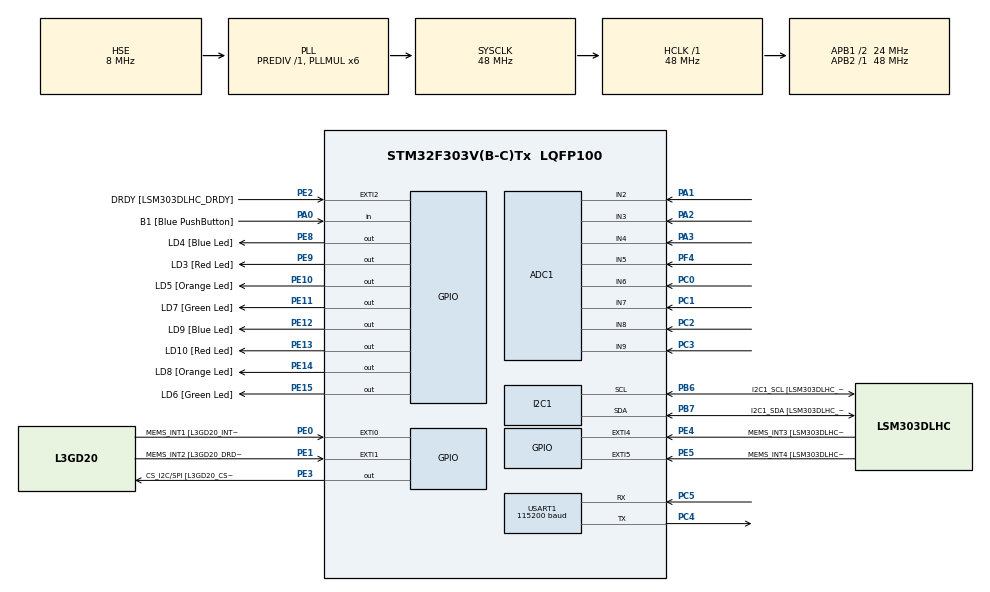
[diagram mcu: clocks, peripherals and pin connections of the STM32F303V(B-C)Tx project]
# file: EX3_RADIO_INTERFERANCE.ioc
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ADC1.Channel-1\#ChannelRegularConversion=ADC_CHANNEL_2
ADC1.NbrOfConversionFlag=1
ADC1.Offset-1\#ChannelRegularConversion=0
ADC1.OffsetNumber-1\#ChannelRegularConversion=ADC_OFFSET_NONE
ADC1.Rank-1\#ChannelRegularConversion=1
ADC1.SamplingTime-1\#ChannelRegularConversion=ADC_SAMPLETIME_1CYCLE_5
ADC1.master=1
I2C1.Timing-I2C=0x2000090E
Mcu.Family=STM32F3
Mcu.Name=STM32F303V(B-C)Tx
Mcu.Package=LQFP100
NVIC.PriorityGroup=NVIC_PRIORITYGROUP_0
PA0.GPIO_Label=B1 [Blue PushButton]
PA0.Signal=GPIO_Input
PA1.Mode=IN2-Single-Ended
PA1.Signal=ADC1_IN2
PA13.GPIO_Label=SWDIO
PA13.Mode=Serial_Wire
PA13.Signal=SYS_JTMS-SWDIO
PA14.GPIO_Label=SWCLK
PA14.Mode=Serial_Wire
PA14.Signal=SYS_JTCK-SWCLK
PA2.Mode=IN3-Single-Ended
PA2.Signal=ADC1_IN3
PA3.Mode=IN4-Single-Ended
PA3.Signal=ADC1_IN4
PB3.GPIO_Label=SWO
PB3.Signal=SYS_JTDO-TRACESWO
PB6.GPIO_Label=I2C1_SCL [LSM303DLHC_SCL]
PB6.GPIO_Pu=GPIO_PULLUP
PB6.Mode=I2C
PB6.Signal=I2C1_SCL
PB7.GPIO_Label=I2C1_SDA [LSM303DLHC_SDA]
PB7.GPIO_Pu=GPIO_PULLUP
PB7.Mode=I2C
PB7.Signal=I2C1_SDA
PC0.Signal=ADCx_IN6
PC1.Signal=ADCx_IN7
PC14-OSC32_IN.GPIO_Label=OSC32_IN
PC14-OSC32_IN.Signal=RCC_OSC32_IN
PC15-OSC32_OUT.GPIO_Label=OSC32_OUT
PC15-OSC32_OUT.Signal=RCC_OSC32_OUT
PC2.Signal=ADCx_IN8
PC3.Signal=ADCx_IN9
PC4.Mode=Asynchronous
PC4.Signal=USART1_TX
PC5.Mode=Asynchronous
PC5.Signal=USART1_RX
PE0.GPIO_Label=MEMS_INT1 [L3GD20_INT1]
PE0.GPIO_ModeDefaultEXTI=GPIO_MODE_EVT_RISING
PE0.Signal=GPXTI0
PE1.GPIO_Label=MEMS_INT2 [L3GD20_DRDY/INT2]
PE1.GPIO_ModeDefaultEXTI=GPIO_MODE_EVT_RISING
PE1.Signal=GPXTI1
PE10.GPIO_Label=LD5 [Orange Led]
PE10.Signal=GPIO_Output
PE11.GPIO_Label=LD7 [Green Led]
PE11.Signal=GPIO_Output
PE12.GPIO_Label=LD9 [Blue Led]
PE12.Signal=GPIO_Output
PE13.GPIO_Label=LD10 [Red Led]
PE13.Signal=GPIO_Output
PE14.GPIO_Label=LD8 [Orange Led]
PE14.Signal=GPIO_Output
PE15.GPIO_Label=LD6 [Green Led]
PE15.Signal=GPIO_Output
PE2.GPIO_Label=DRDY [LSM303DLHC_DRDY]
PE2.GPIO_ModeDefaultEXTI=GPIO_MODE_EVT_RISING
PE2.Signal=GPXTI2
PE3.GPIO_Label=CS_I2C/SPI [L3GD20_CS_I2C/SPI]
PE3.Signal=GPIO_Output
PE4.GPIO_Label=MEMS_INT3 [LSM303DLHC_INT1]
PE4.GPIO_ModeDefaultEXTI=GPIO_MODE_EVT_RISING
PE4.Signal=GPXTI4
PE5.GPIO_Label=MEMS_INT4 [LSM303DLHC_INT2]
PE5.GPIO_ModeDefaultEXTI=GPIO_MODE_EVT_RISING
PE5.Signal=GPXTI5
PE8.GPIO_Label=LD4 [Blue Led]
PE8.Signal=GPIO_Output
PE9.GPIO_Label=LD3 [Red Led]
PE9.Signal=GPIO_Output
PF0-OSC_IN.GPIO_Label=OSC_IN
PF0-OSC_IN.Mode=HSE-External-Clock-Source
PF0-OSC_IN.Signal=RCC_OSC_IN
PF1-OSC_OUT.GPIO_Label=OSC_OUT
PF1-OSC_OUT.Signal=RCC_OSC_OUT
PF4.Mode=IN5-Single-Ended
PF4.Signal=ADC1_IN5
ProjectManager.HeapSize=0x200
ProjectManager.StackSize=0x400
ProjectManager.TargetToolchain=STM32CubeIDE
RCC.AHBFreq_Value=48000000
RCC.APB1CLKDivider=RCC_HCLK_DIV2
RCC.APB1Freq_Value=24000000
RCC.APB1TimFreq_Value=48000000
RCC.APB2Freq_Value=48000000
RCC.APB2TimFreq_Value=48000000
RCC.CortexFreq_Value=48000000
RCC.HCLKFreq_Value=48000000
RCC.HSE_VALUE=8000000
RCC.HSI_VALUE=8000000
RCC.LSE_VALUE=32768
RCC.PLLMUL=RCC_PLL_MUL6
RCC.PLLSourceVirtual=RCC_PLLSOURCE_HSE
RCC.SYSCLKFreq_VALUE=48000000
RCC.SYSCLKSourceVirtual=RCC_SYSCLKSOURCE_PLLCLK
RCC.USBFreq_Value=48000000
SH.ADCx_IN6.0=ADC1_IN6,IN6-Single-Ended
SH.ADCx_IN7.0=ADC1_IN7,IN7-Single-Ended
SH.ADCx_IN8.0=ADC1_IN8,IN8-Single-Ended
SH.ADCx_IN9.0=ADC1_IN9,IN9-Single-Ended
USART1.BaudRate=115200
USART1.VirtualMode-Asynchronous=VM_ASYNC
board=STM32F3DISCOVERY

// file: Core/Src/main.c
/* USER CODE BEGIN Header */
/**
  ******************************************************************************
  * @file           : main.c
  * @brief          : Main program body
  ******************************************************************************
  * @attention
  *
  * Copyright (c) 2023 STMicroelectronics.
  * All rights reserved.
  *
  * This software is licensed under terms that can be found in the LICENSE file
  * in the root directory of this software component.
  * If no LICENSE file comes with this software, it is provided AS-IS.
  *
  ******************************************************************************
  */
/* USER CODE END Header */
#include "main.h"
#include <stdlib.h>
#include <stdio.h>
#include <stdbool.h>

#include "magnetometer_functions.h"
#include "calculation_functions.h"

/* USER CODE BEGIN Includes */
void SystemClock_Config(void);
static void MX_GPIO_Init(void);
static void MX_USART1_UART_Init(void);
static void MX_I2C1_Init(void);
/* USER CODE END Includes */

/* USER CODE BEGIN PD */
#define MAG_READ 0x3C
#define MAG_WRITE 0x3D

#define LSM303AGR_BlockUpdate_Continuous ((uint8_t)0x00) /*!< Continuous Update */

#define LSM303AGR_CFG_REG_A_M 0x60  /* Configuration register A magnetic field */

#define LSM303AGR_ODR_220_HZ ((uint8_t) 0x1C)  /*!< Output Data Rate = 220 Hz */

#define ARRAY_SIZE 10 //size of array for the data taken to average

#define LED_ALL 0xffff
#define LED_FOUR 0x5555
/* USER CODE END PD */

ADC_HandleTypeDef hadc1;

I2C_HandleTypeDef hi2c1;

UART_HandleTypeDef huart1;

/* USER CODE BEGIN PV */
volatile int LED_POS = 0;
volatile uint8_t* led_output_display = ((uint8_t*)&(GPIOE->ODR)) + 1;
volatile uint32_t systickValue = 0;
/* USER CODE END PV */

void SystemClock_Config(void);
static void MX_GPIO_Init(void);
static void MX_I2C1_Init(void);
static void MX_ADC1_Init(void);
static void MX_USART1_UART_Init(void);

/* USER CODE BEGIN 0 */
ADC_ChannelConfTypeDef sConfig = {0};

void enable_clocks() {

RCC->AHBENR |= RCC_AHBENR_GPIOAEN | RCC_AHBENR_GPIOCEN | RCC_AHBENR_GPIOEEN;
}

void ADC_select_CH2 (void){
sConfig.Channel = ADC_CHANNEL_2;
sConfig.Rank = ADC_REGULAR_RANK_1;
sConfig.SingleDiff = ADC_SINGLE_ENDED;
sConfig.SamplingTime = ADC_SAMPLETIME_1CYCLE_5;
sConfig.OffsetNumber = ADC_OFFSET_NONE;
sConfig.Offset = 0;
if (HAL_ADC_ConfigChannel(&hadc1, &sConfig) != HAL_OK)
{
  Error_Handler();
}
}

void ADC_select_CH3 (void){
sConfig.Channel = ADC_CHANNEL_3;
sConfig.Rank = ADC_REGULAR_RANK_1;
sConfig.SingleDiff = ADC_SINGLE_ENDED;
sConfig.SamplingTime = ADC_SAMPLETIME_1CYCLE_5;
sConfig.OffsetNumber = ADC_OFFSET_NONE;
sConfig.Offset = 0;
if (HAL_ADC_ConfigChannel(&hadc1, &sConfig) != HAL_OK)
{
  Error_Handler();
}
}

void ADC_select_CH4 (void){
sConfig.Channel = ADC_CHANNEL_4;
sConfig.Rank = ADC_REGULAR_RANK_1;
sConfig.SingleDiff = ADC_SINGLE_ENDED;
sConfig.SamplingTime = ADC_SAMPLETIME_1CYCLE_5;
sConfig.OffsetNumber = ADC_OFFSET_NONE;
sConfig.Offset = 0;
if (HAL_ADC_ConfigChannel(&hadc1, &sConfig) != HAL_OK)
{
  Error_Handler();
}
}

void ADC_select_CH5 (void){
sConfig.Channel = ADC_CHANNEL_5;
sConfig.Rank = ADC_REGULAR_RANK_1;
sConfig.SingleDiff = ADC_SINGLE_ENDED;
sConfig.SamplingTime = ADC_SAMPLETIME_1CYCLE_5;
sConfig.OffsetNumber = ADC_OFFSET_NONE;
sConfig.Offset = 0;
if (HAL_ADC_ConfigChannel(&hadc1, &sConfig) != HAL_OK)
{
  Error_Handler();
}
}

void ADC_select_CH6 (void){
sConfig.Channel = ADC_CHANNEL_6;
sConfig.Rank = ADC_REGULAR_RANK_1;
sConfig.SingleDiff = ADC_SINGLE_ENDED;
sConfig.SamplingTime = ADC_SAMPLETIME_1CYCLE_5;
sConfig.OffsetNumber = ADC_OFFSET_NONE;
sConfig.Offset = 0;
if (HAL_ADC_ConfigChannel(&hadc1, &sConfig) != HAL_OK)
{
  Error_Handler();
}
}

void ADC_select_CH7 (void){
sConfig.Channel = ADC_CHANNEL_7;
sConfig.Rank = ADC_REGULAR_RANK_1;
sConfig.SingleDiff = ADC_SINGLE_ENDED;
sConfig.SamplingTime = ADC_SAMPLETIME_1CYCLE_5;
sConfig.OffsetNumber = ADC_OFFSET_NONE;
sConfig.Offset = 0;
if (HAL_ADC_ConfigChannel(&hadc1, &sConfig) != HAL_OK)
{
  Error_Handler();
}
}

void ADC_select_CH8 (void){
sConfig.Channel = ADC_CHANNEL_8;
sConfig.Rank = ADC_REGULAR_RANK_1;
sConfig.SingleDiff = ADC_SINGLE_ENDED;
sConfig.SamplingTime = ADC_SAMPLETIME_1CYCLE_5;
sConfig.OffsetNumber = ADC_OFFSET_NONE;
sConfig.Offset = 0;
if (HAL_ADC_ConfigChannel(&hadc1, &sConfig) != HAL_OK)
{
  Error_Handler();
}
}

void ADC_select_CH9 (void){
sConfig.Channel = ADC_CHANNEL_9;
sConfig.Rank = ADC_REGULAR_RANK_1;
sConfig.SingleDiff = ADC_SINGLE_ENDED;
sConfig.SamplingTime = ADC_SAMPLETIME_1CYCLE_5;
sConfig.OffsetNumber = ADC_OFFSET_NONE;
sConfig.Offset = 0;
if (HAL_ADC_ConfigChannel(&hadc1, &sConfig) != HAL_OK)
{
  Error_Handler();
}
}

void shuffleArray(float array[], float degrees){
	for(int i = 1; i < ARRAY_SIZE; i ++){
		array[i - 1] = array[i];
	}
	array[ARRAY_SIZE - 1] = degrees;
}

void enableLED()
{
	//only take important bits (first 16) of LED output register
	uint16_t* portReg = ((uint16_t*)&(GPIOE->MODER))+1;

	//set LED pins to output
	*portReg = LED_FOUR;
}

void turnOnLED(int pos){
	LED_POS = pos;
	*led_output_display = 1UL << LED_POS;

}

void turnOnAll(){
	*led_output_display = LED_ALL;
}

void turnOnFour(){
	*led_output_display = LED_FOUR;
}
/* USER CODE END 0 */

int main(void)
{
  /* USER CODE BEGIN 1 */
	enable_clocks();
  /* USER CODE END 1 */

  /* MCU Configuration--------------------------------------------------------*/

  /* Reset of all peripherals, Initializes the Flash interface and the Systick. */
  HAL_Init();

  /* Configure the system clock */
  SystemClock_Config();

  /* Initialize all configured peripherals */
  MX_GPIO_Init();
  MX_I2C1_Init();
  MX_ADC1_Init();
  MX_USART1_UART_Init();
  /* USER CODE BEGIN 2 */
  void (*LDRChannels[8])() = {
  		  &ADC_select_CH2,
  		  &ADC_select_CH3,
  		  &ADC_select_CH4,
  		  &ADC_select_CH5,
  		  &ADC_select_CH6,
  		  &ADC_select_CH7,
  		  &ADC_select_CH8,
  		  &ADC_select_CH9
    };

    int LDRs[] = {0, 0, 0, 0, 0, 0, 0, 0};
    int solution;

    uint8_t test[64];
	HAL_StatusTypeDef returnValue, stat, check, odr;
	float array[ARRAY_SIZE] = {0};
//	float average = 0;
	int count = 0;
	float sum = 0;
	bool completed = false;

	float degrees, average;

	float x_data, y_data, z_data;

	for(int cycle = 0; cycle < 2; cycle++){
		solution = (SysTick->VAL % 8);
		mag_config();
	  						 // MAGNETOMETER LOOP START
	   while (1){

		   sprintf(test, "SOLUTION: %d\r\n", solution);
		   HAL_UART_Transmit(&huart1, test, strlen(test), HAL_MAX_DELAY);

		   x_data = read_x_data();
		   sprintf(test, "AFTER X %.2f 00\r\n", x_data);
		   HAL_UART_Transmit(&huart1, test, strlen(test), HAL_MAX_DELAY);

		   y_data = read_y_data();
		   z_data = read_z_data();

		   sprintf(test, "x: %.2f y: %.2f z: %.2f\r\n", x_data, y_data, z_data);
		   HAL_UART_Transmit(&huart1, test, strlen(test), HAL_MAX_DELAY);

		   degrees = calculate_degrees(x_data, y_data);

		   average = calculate_average(array, degrees, count);

		   sprintf(test, "average: %.2f\r\n", average);
		   HAL_UART_Transmit(&huart1, test, strlen(test), HAL_MAX_DELAY);

		   completed = check_solution(average, solution, degrees);

			HAL_Delay(100);
		}
		   // END MAGNETOMETER LOOP

		   // START ADC LOOP
		   // calibrate ADC1
		   HAL_ADCEx_Calibration_Start(&hadc1, ADC_SINGLE_ENDED);

		   // while the system is still searching for solutions
		   int ADC_Solutions[8] = {0,0,0,0,0,0,0,0};
		   ADC_Solutions[solution] = 1;
		   int SolCounter = 0;
		   while (SolCounter < 1){
			// Poll each LED in sequence
			for (int i = 0; i < 8; i++){
				LDRChannels[i]();
				HAL_ADC_Start(&hadc1);
				HAL_ADC_PollForConversion(&hadc1, 1000);
				int ADC_val = HAL_ADC_GetValue(&hadc1);
				HAL_ADC_Stop(&hadc1);

				// read the value from ADC, full range is 12 bits
				uint8_t scale = ADC_val / (0xfff / 8);  // divide the scale into 8 even partitions (for 8 leds)

				// Mark LED to be triggered
				if (scale > 3) {
					LDRs[i] = 1;
				} else {
					LDRs[i] = 0;
				}
			}

			// Check if solution is a match+
			for (int i = 0; i <= 8; i++){
				if (i == 8){
					SolCounter++;
				}
				else if (LDRs[i] == ADC_Solutions[i]){
					continue;
				} else{
					break;
				}
			}
		   }
	  		}

	HAL_UART_Transmit(&huart1, (uint8_t*) "]", strlen("]"), HAL_MAX_DELAY);

	turnOnAll();

  /* USER CODE END 2 */

  /* Infinite loop */
  while (1)
  {

  }
}

void SystemClock_Config(void)
{
  RCC_OscInitTypeDef RCC_OscInitStruct = {0};
  RCC_ClkInitTypeDef RCC_ClkInitStruct = {0};
  RCC_PeriphCLKInitTypeDef PeriphClkInit = {0};

  /** Initializes the RCC Oscillators according to the specified parameters
  * in the RCC_OscInitTypeDef structure.
  */
  RCC_OscInitStruct.OscillatorType = RCC_OSCILLATORTYPE_HSI|RCC_OSCILLATORTYPE_HSE;
  RCC_OscInitStruct.HSEState = RCC_HSE_BYPASS;
  RCC_OscInitStruct.HSEPredivValue = RCC_HSE_PREDIV_DIV1;
  RCC_OscInitStruct.HSIState = RCC_HSI_ON;
  RCC_OscInitStruct.HSICalibrationValue = RCC_HSICALIBRATION_DEFAULT;
  RCC_OscInitStruct.PLL.PLLState = RCC_PLL_ON;
  RCC_OscInitStruct.PLL.PLLSource = RCC_PLLSOURCE_HSE;
  RCC_OscInitStruct.PLL.PLLMUL = RCC_PLL_MUL6;
  if (HAL_RCC_OscConfig(&RCC_OscInitStruct) != HAL_OK)
  {
    Error_Handler();
  }

  /** Initializes the CPU, AHB and APB buses clocks
  */
  RCC_ClkInitStruct.ClockType = RCC_CLOCKTYPE_HCLK|RCC_CLOCKTYPE_SYSCLK
                              |RCC_CLOCKTYPE_PCLK1|RCC_CLOCKTYPE_PCLK2;
  RCC_ClkInitStruct.SYSCLKSource = RCC_SYSCLKSOURCE_PLLCLK;
  RCC_ClkInitStruct.AHBCLKDivider = RCC_SYSCLK_DIV1;
  RCC_ClkInitStruct.APB1CLKDivider = RCC_HCLK_DIV2;
  RCC_ClkInitStruct.APB2CLKDivider = RCC_HCLK_DIV1;

  if (HAL_RCC_ClockConfig(&RCC_ClkInitStruct, FLASH_LATENCY_1) != HAL_OK)
  {
    Error_Handler();
  }
  PeriphClkInit.PeriphClockSelection = RCC_PERIPHCLK_USART1|RCC_PERIPHCLK_I2C1
                              |RCC_PERIPHCLK_ADC12;
  PeriphClkInit.Usart1ClockSelection = RCC_USART1CLKSOURCE_PCLK2;
  PeriphClkInit.Adc12ClockSelection = RCC_ADC12PLLCLK_DIV1;
  PeriphClkInit.I2c1ClockSelection = RCC_I2C1CLKSOURCE_HSI;
  if (HAL_RCCEx_PeriphCLKConfig(&PeriphClkInit) != HAL_OK)
  {
    Error_Handler();
  }
}

static void MX_ADC1_Init(void)
{

  ADC_MultiModeTypeDef multimode = {0};
  ADC_ChannelConfTypeDef sConfig = {0};

  /** Common config
  */
  hadc1.Instance = ADC1;
  hadc1.Init.ClockPrescaler = ADC_CLOCK_ASYNC_DIV1;
  hadc1.Init.Resolution = ADC_RESOLUTION_12B;
  hadc1.Init.ScanConvMode = ADC_SCAN_DISABLE;
  hadc1.Init.ContinuousConvMode = DISABLE;
  hadc1.Init.DiscontinuousConvMode = DISABLE;
  hadc1.Init.ExternalTrigConvEdge = ADC_EXTERNALTRIGCONVEDGE_NONE;
  hadc1.Init.ExternalTrigConv = ADC_SOFTWARE_START;
  hadc1.Init.DataAlign = ADC_DATAALIGN_RIGHT;
  hadc1.Init.NbrOfConversion = 1;
  hadc1.Init.DMAContinuousRequests = DISABLE;
  hadc1.Init.EOCSelection = ADC_EOC_SINGLE_CONV;
  hadc1.Init.LowPowerAutoWait = DISABLE;
  hadc1.Init.Overrun = ADC_OVR_DATA_OVERWRITTEN;
  if (HAL_ADC_Init(&hadc1) != HAL_OK)
  {
    Error_Handler();
  }

  /** Configure the ADC multi-mode
  */
  multimode.Mode = ADC_MODE_INDEPENDENT;
  if (HAL_ADCEx_MultiModeConfigChannel(&hadc1, &multimode) != HAL_OK)
  {
    Error_Handler();
  }

  /** Configure Regular Channel
  */
  sConfig.Channel = ADC_CHANNEL_2;
  sConfig.Rank = ADC_REGULAR_RANK_1;
  sConfig.SingleDiff = ADC_SINGLE_ENDED;
  sConfig.SamplingTime = ADC_SAMPLETIME_1CYCLE_5;
  sConfig.OffsetNumber = ADC_OFFSET_NONE;
  sConfig.Offset = 0;
  if (HAL_ADC_ConfigChannel(&hadc1, &sConfig) != HAL_OK)
  {
    Error_Handler();
  }

}

static void MX_I2C1_Init(void)
{

  hi2c1.Instance = I2C1;
  hi2c1.Init.Timing = 0x2000090E;
  hi2c1.Init.OwnAddress1 = 0;
  hi2c1.Init.AddressingMode = I2C_ADDRESSINGMODE_7BIT;
  hi2c1.Init.DualAddressMode = I2C_DUALADDRESS_DISABLE;
  hi2c1.Init.OwnAddress2 = 0;
  hi2c1.Init.OwnAddress2Masks = I2C_OA2_NOMASK;
  hi2c1.Init.GeneralCallMode = I2C_GENERALCALL_DISABLE;
  hi2c1.Init.NoStretchMode = I2C_NOSTRETCH_DISABLE;
  if (HAL_I2C_Init(&hi2c1) != HAL_OK)
  {
    Error_Handler();
  }

  /** Configure Analogue filter
  */
  if (HAL_I2CEx_ConfigAnalogFilter(&hi2c1, I2C_ANALOGFILTER_ENABLE) != HAL_OK)
  {
    Error_Handler();
  }

  /** Configure Digital filter
  */
  if (HAL_I2CEx_ConfigDigitalFilter(&hi2c1, 0) != HAL_OK)
  {
    Error_Handler();
  }

}

static void MX_USART1_UART_Init(void)
{

  huart1.Instance = USART1;
  huart1.Init.BaudRate = 115200;
  huart1.Init.WordLength = UART_WORDLENGTH_8B;
  huart1.Init.StopBits = UART_STOPBITS_1;
  huart1.Init.Parity = UART_PARITY_NONE;
  huart1.Init.Mode = UART_MODE_TX_RX;
  huart1.Init.HwFlowCtl = UART_HWCONTROL_NONE;
  huart1.Init.OverSampling = UART_OVERSAMPLING_16;
  huart1.Init.OneBitSampling = UART_ONE_BIT_SAMPLE_DISABLE;
  huart1.AdvancedInit.AdvFeatureInit = UART_ADVFEATURE_NO_INIT;
  if (HAL_UART_Init(&huart1) != HAL_OK)
  {
    Error_Handler();
  }

}

static void MX_GPIO_Init(void)
{
  GPIO_InitTypeDef GPIO_InitStruct = {0};

  /* GPIO Ports Clock Enable */
  __HAL_RCC_GPIOE_CLK_ENABLE();
  __HAL_RCC_GPIOC_CLK_ENABLE();
  __HAL_RCC_GPIOF_CLK_ENABLE();
  __HAL_RCC_GPIOA_CLK_ENABLE();
  __HAL_RCC_GPIOB_CLK_ENABLE();

  /*Configure GPIO pin Output Level */
  HAL_GPIO_WritePin(GPIOE, CS_I2C_SPI_Pin|LD4_Pin|LD3_Pin|LD5_Pin
                          |LD7_Pin|LD9_Pin|LD10_Pin|LD8_Pin
                          |LD6_Pin, GPIO_PIN_RESET);

  /*Configure GPIO pins : DRDY_Pin MEMS_INT3_Pin MEMS_INT4_Pin MEMS_INT1_Pin
                           MEMS_INT2_Pin */
  GPIO_InitStruct.Pin = DRDY_Pin|MEMS_INT3_Pin|MEMS_INT4_Pin|MEMS_INT1_Pin
                          |MEMS_INT2_Pin;
  GPIO_InitStruct.Mode = GPIO_MODE_EVT_RISING;
  GPIO_InitStruct.Pull = GPIO_NOPULL;
  HAL_GPIO_Init(GPIOE, &GPIO_InitStruct);

  /*Configure GPIO pins : CS_I2C_SPI_Pin LD4_Pin LD3_Pin LD5_Pin
                           LD7_Pin LD9_Pin LD10_Pin LD8_Pin
                           LD6_Pin */
  GPIO_InitStruct.Pin = CS_I2C_SPI_Pin|LD4_Pin|LD3_Pin|LD5_Pin
                          |LD7_Pin|LD9_Pin|LD10_Pin|LD8_Pin
                          |LD6_Pin;
  GPIO_InitStruct.Mode = GPIO_MODE_OUTPUT_PP;
  GPIO_InitStruct.Pull = GPIO_NOPULL;
  GPIO_InitStruct.Speed = GPIO_SPEED_FREQ_LOW;
  HAL_GPIO_Init(GPIOE, &GPIO_InitStruct);

  /*Configure GPIO pin : B1_Pin */
  GPIO_InitStruct.Pin = B1_Pin;
  GPIO_InitStruct.Mode = GPIO_MODE_INPUT;
  GPIO_InitStruct.Pull = GPIO_NOPULL;
  HAL_GPIO_Init(B1_GPIO_Port, &GPIO_InitStruct);

}

void Error_Handler(void)
{
  __disable_irq();
  while (1)
  {
  }
}
